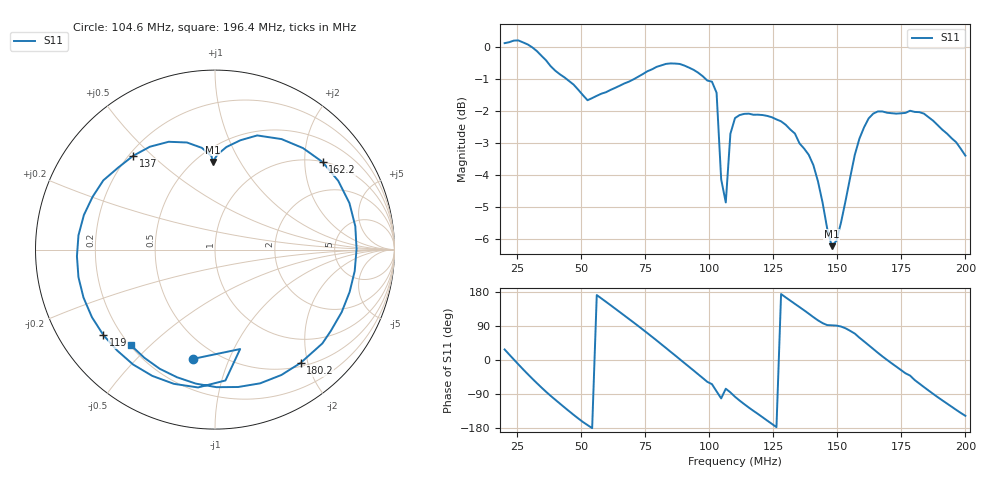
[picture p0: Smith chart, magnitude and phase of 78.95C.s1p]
# HZ S RI R 50
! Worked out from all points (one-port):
!   101 points, 20 MHz to 200 MHz, reference 50 ohm
!   lowest |S11| = -6.2 dB at 147.8 MHz (marker M1), VSWR 2.91, Z = 30.1 + j38.6 ohm
!   |S11| at or under -10 dB: nowhere
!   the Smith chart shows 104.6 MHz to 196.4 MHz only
!   S11 on the Smith chart (normalised r, x): 104.6 MHz: 0.38, -0.75; 119 MHz: 0.14, -0.33; 137 MHz: 0.22, +0.44; 162.2 MHz: 1.01, +2.45; 180.2 MHz: 0.56, -1.88; 196.4 MHz: 0.20, -0.43
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2e7  0.8957 0.4725
2.54e7  1.001 -0.2069
3.26e7  0.4767 -0.8611
3.8e7  -0.0755 -0.9291
4.34e7  -0.5161 -0.7317
5.42e7  -0.8314 -0.00247
6.5e7  -0.5159 0.6997
7.58e7  0.3013 0.8646
8.3e7  0.798 0.4968
8.84e7  0.9392 0.0358
9.92e7  0.4722 -0.7489
1.028e8  0.1068 -0.8408
1.046e8  -0.1221 -0.6089
1.064e8  0.14 -0.5542
1.1e8  -0.0946 -0.7681
1.19e8  -0.6217 -0.4766
1.262e8  -0.7693 -0.037
1.334e8  -0.6221 0.386
1.37e8  -0.4564 0.5223
1.478e8  -0.0129 0.4884
1.55e8  0.1417 0.6093
1.622e8  0.5991 0.4882
1.694e8  0.7888 0.00325
1.784e8  0.5982 -0.5228
1.802e8  0.4768 -0.6313
1.874e8  0.00864 -0.7665
1.964e8  -0.4705 -0.5311
2e8  -0.5691 -0.3652
